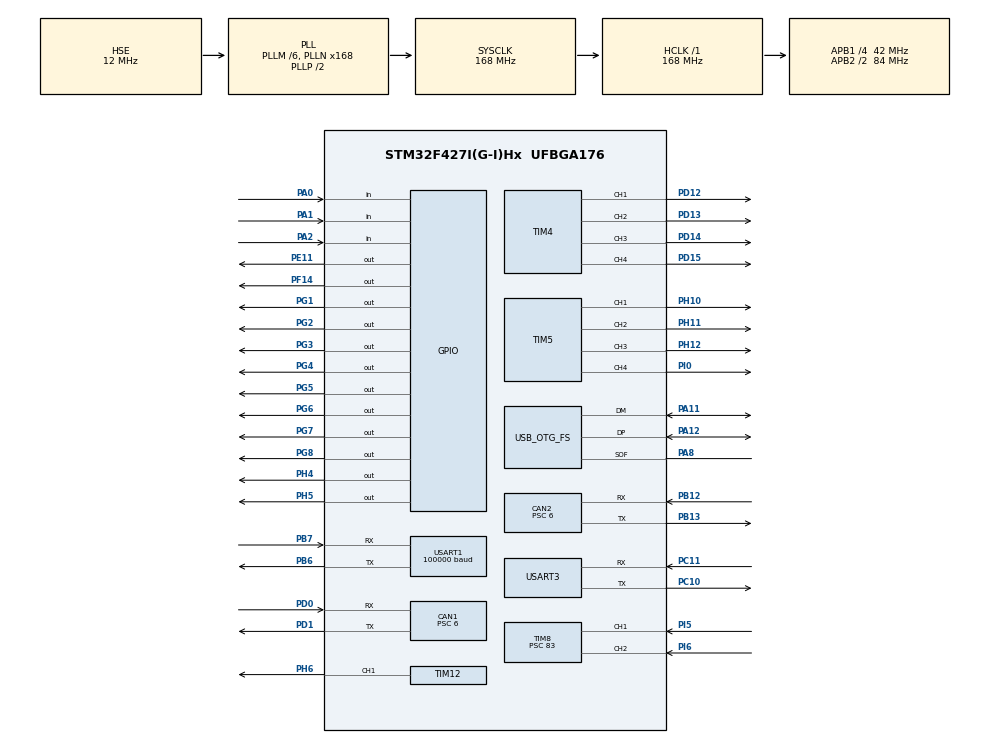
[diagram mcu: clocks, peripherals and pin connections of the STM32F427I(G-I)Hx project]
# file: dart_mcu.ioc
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CAN1.BS1=CAN_BS1_4TQ
CAN1.BS2=CAN_BS2_2TQ
CAN1.CalculateBaudRate=1000000
CAN1.CalculateTimeBit=1000
CAN1.CalculateTimeQuantum=142.85714285714286
CAN1.Prescaler=6
CAN2.BS1=CAN_BS1_4TQ
CAN2.BS2=CAN_BS2_2TQ
CAN2.CalculateBaudRate=1000000
CAN2.CalculateTimeBit=1000
CAN2.CalculateTimeQuantum=142.85714285714286
CAN2.Prescaler=6
Dma.Request0=USART1_RX
Dma.USART1_RX.0.Direction=DMA_PERIPH_TO_MEMORY
Dma.USART1_RX.0.FIFOMode=DMA_FIFOMODE_DISABLE
Dma.USART1_RX.0.Instance=DMA2_Stream2
Dma.USART1_RX.0.MemDataAlignment=DMA_MDATAALIGN_BYTE
Dma.USART1_RX.0.MemInc=DMA_MINC_ENABLE
Dma.USART1_RX.0.Mode=DMA_NORMAL
Dma.USART1_RX.0.PeriphDataAlignment=DMA_PDATAALIGN_BYTE
Dma.USART1_RX.0.PeriphInc=DMA_PINC_DISABLE
Dma.USART1_RX.0.Priority=DMA_PRIORITY_HIGH
FREERTOS.Tasks01=defaultTask,24,3000,StartDefaultTask,Default,NULL,Dynamic,NULL,NULL
Mcu.Family=STM32F4
Mcu.Name=STM32F427I(G-I)Hx
Mcu.Package=UFBGA176
NVIC.CAN1_RX0_IRQn=true\:5\:0\:false\:false\:true\:true\:true\:true\:true
NVIC.CAN2_RX0_IRQn=true\:5\:0\:false\:false\:true\:true\:true\:true\:true
NVIC.DMA2_Stream2_IRQn=true\:5\:0\:false\:false\:true\:true\:false\:true\:true
NVIC.OTG_FS_IRQn=true\:5\:0\:false\:false\:true\:true\:false\:true\:true
NVIC.PriorityGroup=NVIC_PRIORITYGROUP_4
NVIC.TIM2_IRQn=true\:15\:0\:false\:false\:true\:false\:false\:true\:true
NVIC.TIM6_DAC_IRQn=true\:5\:0\:false\:false\:true\:true\:true\:true\:true
NVIC.TIM8_CC_IRQn=true\:5\:0\:false\:false\:true\:true\:true\:true\:true
NVIC.TIM8_UP_TIM13_IRQn=true\:5\:0\:false\:false\:true\:true\:true\:true\:true
NVIC.TimeBase=TIM2_IRQn
NVIC.TimeBaseIP=TIM2
NVIC.USART1_IRQn=true\:5\:0\:false\:false\:true\:true\:true\:true\:true
PA0/WKUP.GPIO_PuPd=GPIO_PULLUP
PA0/WKUP.Signal=GPIO_Input
PA1.GPIO_PuPd=GPIO_PULLUP
PA1.Signal=GPIO_Input
PA11.Mode=Device_Only
PA11.Signal=USB_OTG_FS_DM
PA12.Mode=Device_Only
PA12.Signal=USB_OTG_FS_DP
PA13.Mode=Serial_Wire
PA13.Signal=SYS_JTMS-SWDIO
PA14.Mode=Serial_Wire
PA14.Signal=SYS_JTCK-SWCLK
PA2.Signal=GPIO_Input
PA8.Mode=Activate_SOF_FS
PA8.Signal=USB_OTG_FS_SOF
PB12.Mode=CAN_Activate
PB12.Signal=CAN2_RX
PB13.Mode=CAN_Activate
PB13.Signal=CAN2_TX
PB6.Mode=Asynchronous
PB6.Signal=USART1_TX
PB7.Mode=Asynchronous
PB7.Signal=USART1_RX
PC10.Mode=Asynchronous
PC10.Signal=USART3_TX
PC11.Mode=Asynchronous
PC11.Signal=USART3_RX
PD0.Mode=CAN_Activate
PD0.Signal=CAN1_RX
PD1.Mode=CAN_Activate
PD1.Signal=CAN1_TX
PD12.Signal=S_TIM4_CH1
PD13.Signal=S_TIM4_CH2
PD14.Signal=S_TIM4_CH3
PD15.Signal=S_TIM4_CH4
PE11.Signal=GPIO_Output
PF14.PinState=GPIO_PIN_SET
PF14.Signal=GPIO_Output
PG1.PinState=GPIO_PIN_SET
PG1.Signal=GPIO_Output
PG2.PinState=GPIO_PIN_SET
PG2.Signal=GPIO_Output
PG3.PinState=GPIO_PIN_SET
PG3.Signal=GPIO_Output
PG4.PinState=GPIO_PIN_SET
PG4.Signal=GPIO_Output
PG5.PinState=GPIO_PIN_SET
PG5.Signal=GPIO_Output
PG6.PinState=GPIO_PIN_SET
PG6.Signal=GPIO_Output
PG7.PinState=GPIO_PIN_SET
PG7.Signal=GPIO_Output
PG8.PinState=GPIO_PIN_SET
PG8.Signal=GPIO_Output
PH0/OSC_IN.Mode=HSE-External-Oscillator
PH0/OSC_IN.Signal=RCC_OSC_IN
PH1/OSC_OUT.Mode=HSE-External-Oscillator
PH1/OSC_OUT.Signal=RCC_OSC_OUT
PH10.Signal=S_TIM5_CH1
PH11.Signal=S_TIM5_CH2
PH12.Signal=S_TIM5_CH3
PH4.Signal=GPIO_Output
PH5.Signal=GPIO_Output
PH6.Signal=S_TIM12_CH1
PI0.Signal=S_TIM5_CH4
PI5.Signal=S_TIM8_CH1
PI6.Signal=S_TIM8_CH2
ProjectManager.HeapSize=0x200
ProjectManager.StackSize=0x400
ProjectManager.TargetToolchain=STM32CubeIDE
RCC.48MHZClocksFreq_Value=48000000
RCC.AHBFreq_Value=168000000
RCC.APB1CLKDivider=RCC_HCLK_DIV4
RCC.APB1Freq_Value=42000000
RCC.APB1TimFreq_Value=84000000
RCC.APB2CLKDivider=RCC_HCLK_DIV2
RCC.APB2Freq_Value=84000000
RCC.APB2TimFreq_Value=168000000
RCC.CortexFreq_Value=168000000
RCC.HCLKFreq_Value=168000000
RCC.HSE_VALUE=12000000
RCC.HSI_VALUE=16000000
RCC.LSE_VALUE=32768
RCC.PLLM=6
RCC.PLLN=168
RCC.PLLQ=7
RCC.SYSCLKFreq_VALUE=168000000
RCC.SYSCLKSource=RCC_SYSCLKSOURCE_PLLCLK
RCC.VCOOutputFreq_Value=336000000
SH.S_TIM12_CH1.0=TIM12_CH1,PWM Generation1 CH1
SH.S_TIM4_CH1.0=TIM4_CH1,PWM Generation1 CH1
SH.S_TIM4_CH2.0=TIM4_CH2,PWM Generation2 CH2
SH.S_TIM4_CH3.0=TIM4_CH3,PWM Generation3 CH3
SH.S_TIM4_CH4.0=TIM4_CH4,PWM Generation4 CH4
SH.S_TIM5_CH1.0=TIM5_CH1,PWM Generation1 CH1
SH.S_TIM5_CH2.0=TIM5_CH2,PWM Generation2 CH2
SH.S_TIM5_CH3.0=TIM5_CH3,PWM Generation3 CH3
SH.S_TIM5_CH4.0=TIM5_CH4,PWM Generation4 CH4
SH.S_TIM8_CH1.0=TIM8_CH1,Input_Capture1_from_TI1
SH.S_TIM8_CH2.0=TIM8_CH2,Input_Capture2_from_TI2
TIM12.Channel-PWM\ Generation1\ CH1=TIM_CHANNEL_1
TIM12.Period=0
TIM12.Prescaler=7
TIM12.Pulse-PWM\ Generation1\ CH1=50
TIM4.Channel-PWM\ Generation1\ CH1=TIM_CHANNEL_1
TIM4.Channel-PWM\ Generation2\ CH2=TIM_CHANNEL_2
TIM4.Channel-PWM\ Generation3\ CH3=TIM_CHANNEL_3
TIM4.Channel-PWM\ Generation4\ CH4=TIM_CHANNEL_4
TIM5.Channel-PWM\ Generation1\ CH1=TIM_CHANNEL_1
TIM5.Channel-PWM\ Generation2\ CH2=TIM_CHANNEL_2
TIM5.Channel-PWM\ Generation3\ CH3=TIM_CHANNEL_3
TIM5.Channel-PWM\ Generation4\ CH4=TIM_CHANNEL_4
TIM6.Prescaler=8399
TIM8.Channel-Input_Capture1_from_TI1=TIM_CHANNEL_1
TIM8.Channel-Input_Capture2_from_TI2=TIM_CHANNEL_2
TIM8.Prescaler=83
USART1.BaudRate=100000
USART1.Mode=MODE_RX
USART1.Parity=PARITY_EVEN
USART1.VirtualMode=VM_ASYNC
USART1.WordLength=WORDLENGTH_9B
USART3.VirtualMode=VM_ASYNC
USB_DEVICE.CLASS_NAME_FS=CDC
USB_DEVICE.VirtualMode-CDC_FS=Cdc
USB_DEVICE.VirtualModeFS=Cdc_FS
USB_OTG_FS.VirtualMode=Device_Only
VP_FREERTOS_VS_CMSIS_V2.Mode=CMSIS_V2
VP_SYS_VS_tim2.Mode=TIM2
VP_TIM6_VS_ClockSourceINT.Mode=Enable_Timer
VP_TIM8_VS_ClockSourceINT.Mode=Internal
VP_USB_DEVICE_VS_USB_DEVICE_CDC_FS.Mode=CDC_FS
board=custom

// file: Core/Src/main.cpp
/* USER CODE BEGIN Header */
/**
  ******************************************************************************
  * @file           : main.c
  * @brief          : Main program body
  ******************************************************************************
  * @attention
  *
  * Copyright (c) 2024 STMicroelectronics.
  * All rights reserved.
  *
  * This software is licensed under terms that can be found in the LICENSE file
  * in the root directory of this software component.
  * If no LICENSE file comes with this software, it is provided AS-IS.
  *
  ******************************************************************************
  */
/* USER CODE END Header */
#include "main.h"
#include "cmsis_os.h"
#include "can.h"
#include "dma.h"
#include "tim.h"
#include "usart.h"
#include "usb_device.h"
#include "gpio.h"

/* USER CODE BEGIN Includes */
#include "dbus.h"
#include "judge_receive.h"
#include "motor.h"
#include "sound_effect.h"
#include "velocimeter.h"
/* USER CODE END Includes */

/* USER CODE BEGIN PV */
extern uint16_t wheel;
/* USER CODE END PV */

void SystemClock_Config(void);
void MX_FREERTOS_Init(void);

int main(void)
{

  /* MCU Configuration--------------------------------------------------------*/

  /* Reset of all peripherals, Initializes the Flash interface and the Systick. */
  HAL_Init();

  /* USER CODE BEGIN Init */
    RCC_OscInitTypeDef RCC_OscInitStruct = {0};
    RCC_ClkInitTypeDef RCC_ClkInitStruct = {0};
    RCC_ClkInitStruct.ClockType = RCC_CLOCKTYPE_SYSCLK;
    RCC_ClkInitStruct.SYSCLKSource = RCC_SYSCLKSOURCE_HSI;
    if (HAL_RCC_ClockConfig(&RCC_ClkInitStruct, FLASH_LATENCY_5) != HAL_OK) {
        Error_Handler();
    }
  /* USER CODE END Init */

  /* Configure the system clock */
  SystemClock_Config();

  /* Initialize all configured peripherals */
  MX_GPIO_Init();
  MX_DMA_Init();
  MX_TIM12_Init();
  MX_TIM6_Init();
  MX_CAN1_Init();
  MX_CAN2_Init();
  MX_TIM4_Init();
  MX_TIM5_Init();
  MX_USART1_UART_Init();
  MX_USART3_UART_Init();
  MX_TIM8_Init();
  /* USER CODE BEGIN 2 */
    CAN_FilterTypeDef sFilterConfig;

    sFilterConfig.FilterBank = 0;
    sFilterConfig.FilterMode = CAN_FILTERMODE_IDMASK;
    sFilterConfig.FilterScale = CAN_FILTERSCALE_32BIT;
    sFilterConfig.FilterIdHigh = 0x0000;
    sFilterConfig.FilterIdLow = 0x0000;
    sFilterConfig.FilterMaskIdHigh = 0x0000;
    sFilterConfig.FilterMaskIdLow = 0x0000;
    sFilterConfig.FilterFIFOAssignment = CAN_RX_FIFO0;
    sFilterConfig.FilterActivation = ENABLE;
    sFilterConfig.SlaveStartFilterBank = 14;
    HAL_CAN_ConfigFilter(&hcan1, &sFilterConfig);
    HAL_CAN_Start(&hcan1);
    HAL_CAN_ActivateNotification(&hcan1, CAN_IT_RX_FIFO0_MSG_PENDING);

    sFilterConfig.FilterBank = 14;
    HAL_CAN_ConfigFilter(&hcan2, &sFilterConfig);
    HAL_CAN_Start(&hcan2);
    HAL_CAN_ActivateNotification(&hcan2, CAN_IT_RX_FIFO0_MSG_PENDING);

    HAL_UARTEx_ReceiveToIdle_DMA(&huart1, uart1RecBuffer, UART1_MAX_RECEIVE_BUFFER_LENGTH);
  /* USER CODE END 2 */

  /* Init scheduler */
  osKernelInitialize();

  /* Call init function for freertos objects (in cmsis_os2.c) */
  MX_FREERTOS_Init();

  /* Start scheduler */
  osKernelStart();

  /* We should never get here as control is now taken by the scheduler */

  /* Infinite loop */
    while (1) {

    }
}

void SystemClock_Config(void)
{
  RCC_OscInitTypeDef RCC_OscInitStruct = {0};
  RCC_ClkInitTypeDef RCC_ClkInitStruct = {0};

  /** Configure the main internal regulator output voltage
  */
  __HAL_RCC_PWR_CLK_ENABLE();
  __HAL_PWR_VOLTAGESCALING_CONFIG(PWR_REGULATOR_VOLTAGE_SCALE1);

  /** Initializes the RCC Oscillators according to the specified parameters
  * in the RCC_OscInitTypeDef structure.
  */
  RCC_OscInitStruct.OscillatorType = RCC_OSCILLATORTYPE_HSE;
  RCC_OscInitStruct.HSEState = RCC_HSE_ON;
  RCC_OscInitStruct.PLL.PLLState = RCC_PLL_ON;
  RCC_OscInitStruct.PLL.PLLSource = RCC_PLLSOURCE_HSE;
  RCC_OscInitStruct.PLL.PLLM = 6;
  RCC_OscInitStruct.PLL.PLLN = 168;
  RCC_OscInitStruct.PLL.PLLP = RCC_PLLP_DIV2;
  RCC_OscInitStruct.PLL.PLLQ = 7;
  if (HAL_RCC_OscConfig(&RCC_OscInitStruct) != HAL_OK)
  {
    Error_Handler();
  }

  /** Initializes the CPU, AHB and APB buses clocks
  */
  RCC_ClkInitStruct.ClockType = RCC_CLOCKTYPE_HCLK|RCC_CLOCKTYPE_SYSCLK
                              |RCC_CLOCKTYPE_PCLK1|RCC_CLOCKTYPE_PCLK2;
  RCC_ClkInitStruct.SYSCLKSource = RCC_SYSCLKSOURCE_PLLCLK;
  RCC_ClkInitStruct.AHBCLKDivider = RCC_SYSCLK_DIV1;
  RCC_ClkInitStruct.APB1CLKDivider = RCC_HCLK_DIV4;
  RCC_ClkInitStruct.APB2CLKDivider = RCC_HCLK_DIV2;

  if (HAL_RCC_ClockConfig(&RCC_ClkInitStruct, FLASH_LATENCY_5) != HAL_OK)
  {
    Error_Handler();
  }
}

/* USER CODE BEGIN 4 */
/*---------------------------------function of interrupt begin------------------------------------*/
// 遥控&裁判系统解码
void HAL_UARTEx_RxEventCallback(UART_HandleTypeDef *huart, uint16_t Size) {
    if (huart == &huart1 && huart->RxEventType == HAL_UART_RXEVENT_IDLE
            ) {
        if (Size == 18U) {
            memcpy(RC_rx_buffer, uart1RecBuffer, Size);
            DT7_Decode();
        }

        memset(uart1RecBuffer, 0, UART1_MAX_RECEIVE_BUFFER_LENGTH);
        HAL_UARTEx_ReceiveToIdle_DMA(&huart1, uart1RecBuffer, UART1_MAX_RECEIVE_BUFFER_LENGTH);
    } else if (huart == &huart3 && huart->RxEventType == HAL_UART_RXEVENT_IDLE
            ) {
        // 双缓�?
        static uint8_t decode_memory_ = MEMORY0;

        HAL_UARTEx_ReceiveToIdle_DMA(&huart3, judge_rx_buffer[(decode_memory_ + 1) % 2],
                                     UART6_MAX_RECEIVE_BUFFER_LENGTH);
        RefereeReceive(Size, judge_rx_buffer[decode_memory_]
        );
        decode_memory_ = (decode_memory_ + 1) % 2;
    }
}

void HAL_UART_ErrorCallback(UART_HandleTypeDef *huart) {
    if (huart == &huart1 || huart == &huart3) {
        __HAL_UART_CLEAR_FLAG(huart, UART_FLAG_RXNE);
        __HAL_UART_CLEAR_OREFLAG(huart);
        __HAL_UART_ENABLE_IT(huart, UART_IT_RXNE);
        __HAL_UART_ENABLE_IT(huart, UART_IT_ERR);
        huart->ErrorCode = HAL_UART_ERROR_NONE;
        huart->gState = HAL_UART_STATE_READY;
        huart->RxState = HAL_UART_STATE_READY;
    }
}

/**
 * @brief 在此函数中添加自动恢复逻辑
 */

void HAL_CAN_ErrorCallback(CAN_HandleTypeDef *hcan) {
    uint32_t err = HAL_CAN_GetError(hcan);  // 获取错误码 :contentReference[oaicite:6]{index=6}

    // 检测到 Bus-Off 错误
    if (err & HAL_CAN_ERROR_BOF) {
        reboot_can(hcan);
    }
}

// CAN接收中断
void HAL_CAN_RxFifo0MsgPendingCallback(CAN_HandleTypeDef *hcan) {
    CAN_RxHeaderTypeDef RxHeader;
    uint8_t aData[8];
    if (hcan == &hcan1) {
        HAL_CAN_GetRxMessage(hcan, CAN_RX_FIFO0, &RxHeader, aData);
        switch (RxHeader.StdId) {
            case 0x201: {
                motor::MotorTriggerLS.decodeCanMsg(&RxHeader, aData);
                break;
            }
            case 0x202: {
                motor::MotorLoad[0].decodeCanMsg(&RxHeader, aData);
                break;
            }
            case 0x203: {
                motor::MotorLoad[1].decodeCanMsg(&RxHeader, aData);
                break;
            }
            default: {
                break;
            }
        }
    }
    if (hcan == &hcan2) {
        HAL_CAN_GetRxMessage(hcan, CAN_RX_FIFO0, &RxHeader, aData);
        switch (RxHeader.StdId) {
            case 0x208: {
                motor::MotorYawLS.decodeCanMsg(&RxHeader, aData);
                break;
            }
            default: {
                break;
            }
        }
    }
}

void HAL_TIM_IC_CaptureCallback(TIM_HandleTypeDef *htim) {
    static bool begin = false;
    if (htim == &htim8) {
        if (!begin && htim->Channel == HAL_TIM_ACTIVE_CHANNEL_1) {
            meter::velocity_meter.onCaptureBegin(htim->Instance->CCR1);
            begin = true;
        } else if (begin && htim->Channel == HAL_TIM_ACTIVE_CHANNEL_2) {
            meter::velocity_meter.onCaptureEnd(htim->Instance->CCR2);
            begin = false;
        } else {
            begin = false;
        }
    }
}
/* USER CODE END 4 */

void HAL_TIM_PeriodElapsedCallback(TIM_HandleTypeDef *htim)
{
  if (htim->Instance == TIM2) {
    HAL_IncTick();
  }
  /* USER CODE BEGIN Callback 1 */
    else if (htim->Instance == TIM6) {
        SoundEffectManager::timer_callback(&soundEffectManager);
    } else if (htim->Instance == TIM8) {
        meter::velocity_meter.onUpdate(htim);
    }
  /* USER CODE END Callback 1 */
}

void Error_Handler(void)
{
    __disable_irq();
    while (1) {
    }
}
